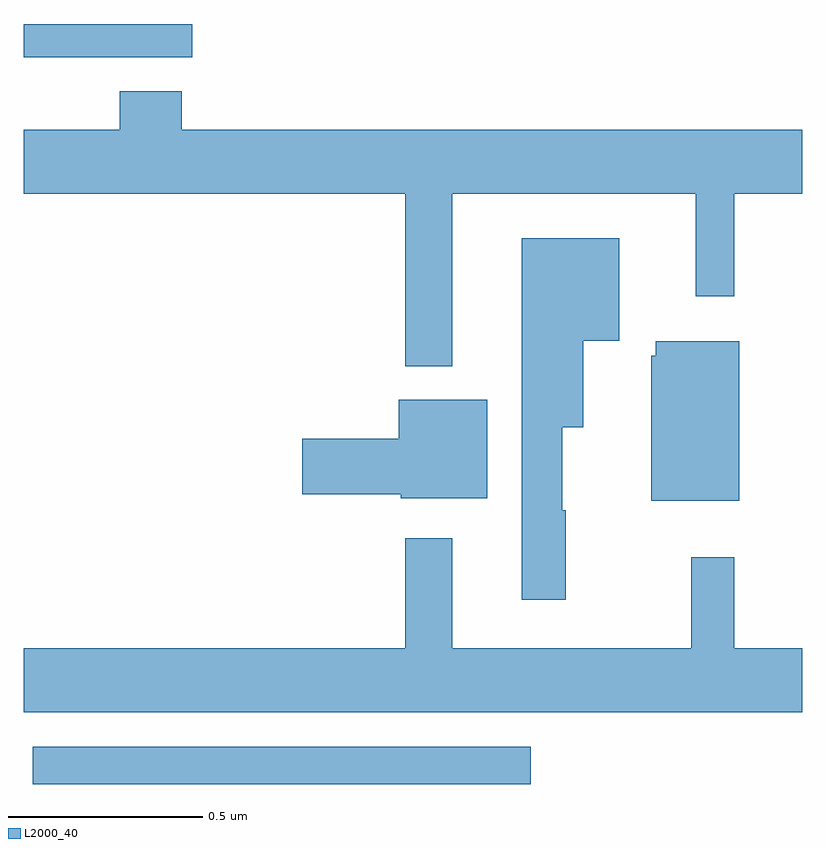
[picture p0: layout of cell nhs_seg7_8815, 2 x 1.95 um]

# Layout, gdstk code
import gdstk
lib = gdstk.Library(unit=1e-6, precision=1e-09)
def R(c, l, rs):  # rectangles x0, y0, x1, y1
    for r in rs: c.add(gdstk.rectangle(r[:2], r[2:], *l))
def P(c, l, *ps):  # polygons
    for p in ps: c.add(gdstk.Polygon(p, *l))
L2000_40 = (2000, 40)

nhs_seg7_8815 = lib.new_cell('nhs_seg7_8815')
R(nhs_seg7_8815, L2000_40, [(229.023,1051.047,230.302,1051.143), (229,1052.915,229.433,1053)])
P(nhs_seg7_8815, L2000_40, [(230.101,1052.564),(230.726,1052.564),(230.726,1052.301),(230.826,1052.301),(230.826,1052.564),(231,1052.564),(231,1052.728),(229.406,1052.728),(229.406,1052.827),(229.246,1052.827),(229.246,1052.728),(229,1052.728),(229,1052.564),(229.98,1052.564),(229.98,1052.12),(230.101,1052.12)],
  [(230.393,1051.751),(230.383,1051.751),(230.383,1051.964),(230.437,1051.964),(230.437,1052.186),(230.53,1052.186),(230.53,1052.449),(230.279,1052.449),(230.279,1051.521),(230.393,1051.521)],
  [(230.839,1052.185),(230.624,1052.185),(230.624,1052.148),(230.612,1052.148),(230.612,1051.775),(230.839,1051.775)],
  [(230.191,1052.035),(229.964,1052.035),(229.964,1051.934),(229.716,1051.934),(229.716,1051.792),(229.968,1051.792),(229.968,1051.781),(230.191,1051.781)],
  [(231,1051.396),(230.825,1051.396),(230.825,1051.63),(230.715,1051.63),(230.715,1051.396),(230.101,1051.396),(230.101,1051.678),(229.98,1051.678),(229.98,1051.396),(229,1051.396),(229,1051.232),(231,1051.232)])

lib.write_gds('nhs_seg7_8815.gds')
